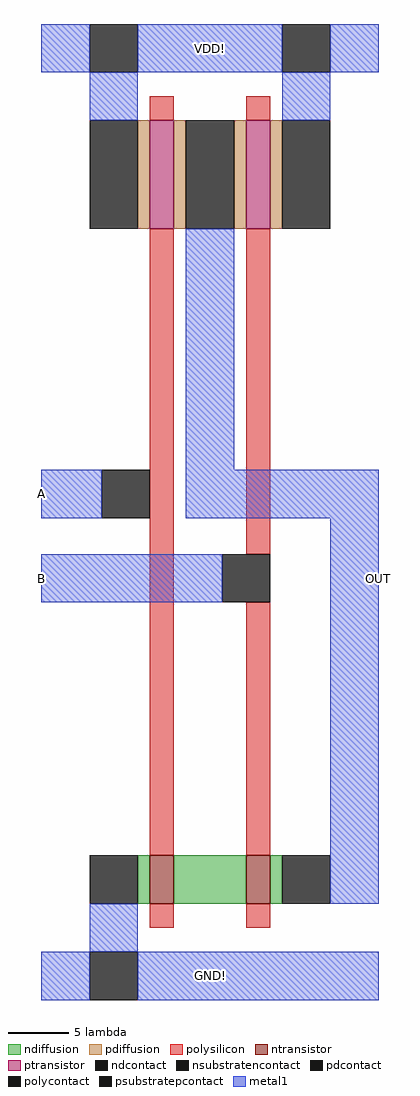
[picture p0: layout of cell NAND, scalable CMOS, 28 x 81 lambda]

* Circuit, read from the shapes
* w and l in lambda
.subckt NAND A B GND! OUT VDD!
M1 n1 A GND! GND! nfet w=4 l=2
M2 OUT B n1 GND! nfet w=4 l=2
M3 OUT A VDD! VDD! pfet w=9 l=2
M4 VDD! B OUT VDD! pfet w=9 l=2
.ends

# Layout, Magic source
magic
tech scmos
<< ntransistor >>
rect 55 23 57 27
rect 63 23 65 27
<< ptransistor >>
rect 55 79 57 88
rect 63 79 65 88
<< ndiffusion >>
rect 54 23 55 27
rect 57 23 63 27
rect 65 23 66 27
<< pdiffusion >>
rect 54 79 55 88
rect 57 79 58 88
rect 62 79 63 88
rect 65 79 66 88
<< ndcontact >>
rect 50 23 54 27
rect 66 23 70 27
<< pdcontact >>
rect 50 79 54 88
rect 58 79 62 88
rect 66 79 70 88
<< psubstratepcontact >>
rect 50 15 54 19
<< nsubstratencontact >>
rect 50 92 54 96
rect 66 92 70 96
<< polysilicon >>
rect 55 88 57 90
rect 63 88 65 90
rect 55 27 57 79
rect 63 52 65 79
rect 63 27 65 48
rect 55 21 57 23
rect 63 21 65 23
<< polycontact >>
rect 51 55 55 59
rect 61 48 65 52
<< metal1 >>
rect 46 92 50 96
rect 54 92 66 96
rect 70 92 74 96
rect 50 88 54 92
rect 66 88 70 92
rect 58 59 62 79
rect 46 55 51 59
rect 58 55 74 59
rect 46 48 61 52
rect 70 23 74 55
rect 50 19 54 23
rect 46 15 50 19
rect 54 15 74 19
<< labels >>
rlabel metal1 60 17 60 17 1 GND!
rlabel metal1 46 55 46 59 3 A
rlabel metal1 46 48 46 52 3 B
rlabel metal1 74 48 74 52 7 OUT
rlabel metal1 60 94 60 94 5 VDD!
<< end >>
